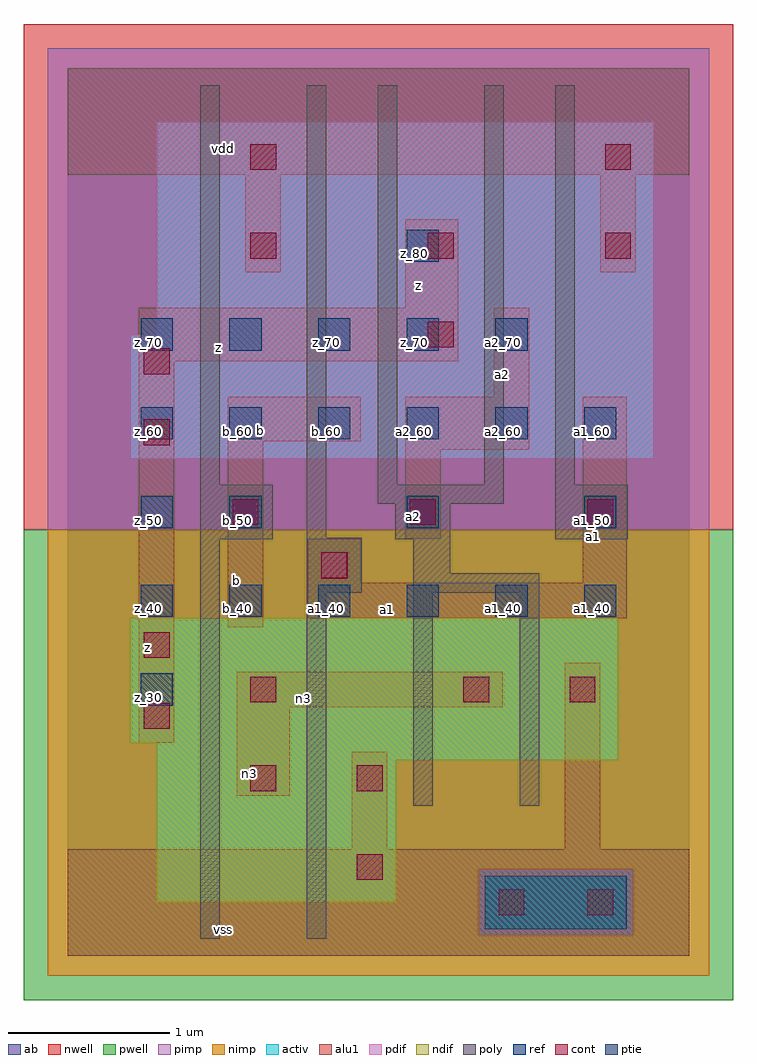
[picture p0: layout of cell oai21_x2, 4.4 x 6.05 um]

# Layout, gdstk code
import gdstk
lib = gdstk.Library(unit=1e-6, precision=2.5e-09)
def R(c, l, rs):  # rectangles x0, y0, x1, y1
    for r in rs: c.add(gdstk.rectangle(r[:2], r[2:], *l))
def A(c, l, x, y, w, h, nx, ny, dx, dy):  # array of equal rectangles
    R(c, l, [(x+i*dx, y+j*dy, x+i*dx+w, y+j*dy+h) for i in range(nx) for j in range(ny)])
ndif = (3, 0)
pdif = (4, 0)
ptie = (6, 0)
ref = (24, 0)
cont = (25, 0)
pwell = (41, 0)
nwell = (42, 0)
activ = (43, 0)
pimp = (44, 0)
nimp = (45, 0)
poly = (46, 0)
alu1 = (49, 0)
ab = (63, 0)

oai21_x2 = lib.new_cell('oai21_x2')
R(oai21_x2, ndif, [(0.55,0.33,2.035,1.21), (0.55,1.21,3.41,1.32), (0.385,1.32,3.41,2.09)])
R(oai21_x2, pdif, [(0.385,3.08,3.63,3.85), (0.55,3.85,3.63,5.17)])
R(oai21_x2, ptie, [(2.585,0.165,3.465,0.495)])
A(oai21_x2, ref, 0.45, 2.1, 0.2, 0.2, 6, 2, 0.55, 1.1)
A(oai21_x2, ref, 1, 2.65, 0.2, 0.2, 3, 1, 1.1, 0)
A(oai21_x2, ref, 0.45, 3.75, 0.2, 0.2, 5, 1, 0.55, 0)
R(oai21_x2, ref, [(0.45,1.55,0.65,1.75), (0.45,2.65,0.65,2.85), (2.1,4.3,2.3,4.5)])
A(oai21_x2, cont, 1.02, 2.67, 0.16, 0.16, 3, 1, 1.1, 0)
A(oai21_x2, cont, 1.13, 4.32, 0.16, 0.16, 3, 1, 1.1, 0)
R(oai21_x2, cont, [(2.67,0.25,2.83,0.41), (3.22,0.25,3.38,0.41), (1.79,0.47,1.95,0.63), (1.13,1.02,1.29,1.18), (1.79,1.02,1.95,1.18), (0.47,1.405,0.63,1.565), (1.13,1.57,1.29,1.73), (2.45,1.57,2.61,1.73), (3.11,1.57,3.27,1.73), (0.47,1.845,0.63,2.005), (1.57,2.34,1.73,2.5), (0.47,3.165,0.63,3.325), (0.47,3.605,0.63,3.765), (2.23,3.77,2.39,3.93), (1.13,4.87,1.29,5.03), (3.33,4.87,3.49,5.03)])
R(oai21_x2, pwell, [(-0.275,-0.275,4.125,2.64)])
R(oai21_x2, nwell, [(-0.275,2.64,4.125,5.775)])
R(oai21_x2, activ, [(2.585,0.165,3.465,0.495), (0.55,0.33,2.035,1.21), (0.55,1.21,3.41,1.32), (0.385,1.32,3.41,2.09), (0.385,3.08,3.63,3.85), (0.55,3.85,3.63,5.17)])
R(oai21_x2, pimp, [(2.545,0.125,3.505,0.535), (-0.125,2.64,3.975,5.625)])
R(oai21_x2, nimp, [(-0.125,-0.125,3.975,0.125), (-0.125,0.125,2.545,0.535), (3.505,0.125,3.975,0.535), (-0.125,0.535,3.975,2.64)])
R(oai21_x2, poly, [(0.82,0.105,0.94,2.58), (1.48,0.105,1.6,2.25), (2.14,0.93,2.26,2.25), (2.8,0.93,2.92,2.25), (1.48,2.25,1.82,2.59), (2.14,2.25,2.92,2.37), (2.14,2.37,2.37,2.58), (0.82,2.58,1.27,2.92), (2.03,2.58,2.37,2.8), (3.02,2.58,3.47,2.92), (1.48,2.59,1.6,5.395), (1.92,2.8,2.7,2.92), (0.82,2.92,0.94,5.395), (1.92,2.92,2.04,5.395), (2.58,2.92,2.7,5.395), (3.02,2.92,3.14,5.395)])
R(oai21_x2, alu1, [(0,0,3.85,0.66), (1.76,0.66,1.98,1.265), (3.08,0.66,3.3,1.815), (1.045,0.99,1.375,1.54), (0.44,1.32,0.66,3.685), (1.045,1.54,2.695,1.76), (0.99,2.035,1.21,3.19), (1.485,2.09,3.465,2.31), (1.485,2.31,1.815,2.585), (3.19,2.31,3.465,3.465), (2.09,2.585,2.31,3.135), (2.09,3.135,2.86,3.465), (0.99,3.19,1.815,3.465), (2.64,3.465,2.86,4.015), (0.44,3.685,2.42,4.015), (2.09,4.015,2.42,4.565), (1.1,4.235,1.32,4.84), (3.3,4.235,3.52,4.84), (0,4.84,3.85,5.5)])
R(oai21_x2, ab, [(0,0,3.85,5.5)])
oai21_x2.add(gdstk.Label('vss', (0.9625,0.165), layer=49, texttype=0))
oai21_x2.add(gdstk.Label('n3', (1.1275,1.1275), layer=49, texttype=0))
oai21_x2.add(gdstk.Label('n3', (1.4575,1.595), layer=49, texttype=0))
oai21_x2.add(gdstk.Label('a1', (1.98,2.145), layer=49, texttype=0))
oai21_x2.add(gdstk.Label('a1', (3.2575,2.5975), layer=49, texttype=0))
oai21_x2.add(gdstk.Label('a2', (2.145,2.7225), layer=49, texttype=0))
oai21_x2.add(gdstk.Label('b', (1.045,2.3225), layer=49, texttype=0))
oai21_x2.add(gdstk.Label('b', (1.195,3.2575), layer=49, texttype=0))
oai21_x2.add(gdstk.Label('a2', (2.695,3.6025), layer=49, texttype=0))
oai21_x2.add(gdstk.Label('z', (0.495,1.91), layer=49, texttype=0))
oai21_x2.add(gdstk.Label('z', (0.935,3.7675), layer=49, texttype=0))
oai21_x2.add(gdstk.Label('z', (2.1725,4.1525), layer=49, texttype=0))
oai21_x2.add(gdstk.Label('vdd', (0.9625,5.005), layer=49, texttype=0))
oai21_x2.add(gdstk.Label('b_60', (1.6,3.25), layer=24, texttype=0))
oai21_x2.add(gdstk.Label('b_60', (1.05,3.25), layer=24, texttype=0))
oai21_x2.add(gdstk.Label('a1_40', (1.6,2.15), layer=24, texttype=0))
oai21_x2.add(gdstk.Label('a2_60', (2.15,3.25), layer=24, texttype=0))
oai21_x2.add(gdstk.Label('z_30', (0.5,1.6), layer=24, texttype=0))
oai21_x2.add(gdstk.Label('b_50', (1.05,2.7), layer=24, texttype=0))
oai21_x2.add(gdstk.Label('z_40', (0.5,2.15), layer=24, texttype=0))
oai21_x2.add(gdstk.Label('z_50', (0.5,2.7), layer=24, texttype=0))
oai21_x2.add(gdstk.Label('z_60', (0.5,3.25), layer=24, texttype=0))
oai21_x2.add(gdstk.Label('z_70', (0.5,3.8), layer=24, texttype=0))
oai21_x2.add(gdstk.Label('a1_40', (2.15,2.15), layer=24, texttype=0))
oai21_x2.add(gdstk.Label('a2_50', (2.15,2.7), layer=24, texttype=0))
oai21_x2.add(gdstk.Label('a1_50', (3.25,2.7), layer=24, texttype=0))
oai21_x2.add(gdstk.Label('a2_60', (2.7,3.25), layer=24, texttype=0))
oai21_x2.add(gdstk.Label('z_70', (1.05,3.8), layer=24, texttype=0))
oai21_x2.add(gdstk.Label('z_70', (1.6,3.8), layer=24, texttype=0))
oai21_x2.add(gdstk.Label('z_70', (2.15,3.8), layer=24, texttype=0))
oai21_x2.add(gdstk.Label('z_80', (2.15,4.35), layer=24, texttype=0))
oai21_x2.add(gdstk.Label('a2_70', (2.7,3.8), layer=24, texttype=0))
oai21_x2.add(gdstk.Label('a1_40', (2.7,2.15), layer=24, texttype=0))
oai21_x2.add(gdstk.Label('b_40', (1.05,2.15), layer=24, texttype=0))
oai21_x2.add(gdstk.Label('a1_60', (3.25,3.25), layer=24, texttype=0))
oai21_x2.add(gdstk.Label('a1_40', (3.25,2.15), layer=24, texttype=0))

lib.write_gds('oai21_x2.gds')
